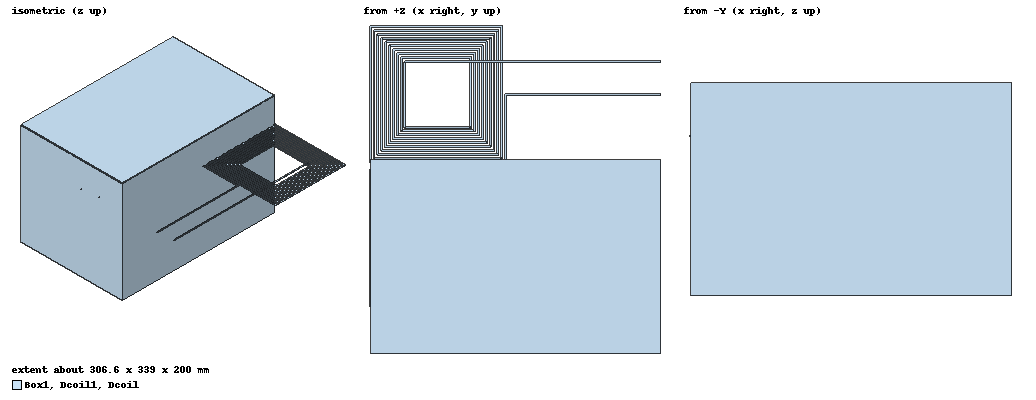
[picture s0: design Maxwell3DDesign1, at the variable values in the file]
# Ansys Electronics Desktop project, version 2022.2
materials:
  vacuum: permittivity=1

design Maxwell3DDesign1 (Maxwell 3D, Magnetostatic, model units mm)
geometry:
  Dcoil [vacuum] = polyline(z=0mm, xy in mm: (140, 60) (140, 0) (0, 0) (0, 140) (136, 140) (136, 4) (4, 4) (4, 136) (132, 136) (132, 8) (8, 8) (8, 132) (128, 132) (128, 12) (12, 12) (12, 128) (124, 128) (124, 16) (16, 16) (16, 124) (120, 124) (120, 20) (20, 20) (20, 120) (116, 120) (116, 24) (24, 24) (24, 116) (112, 116) (112, 28) (28, 28) (28, 112) (108, 112) (108, 32) (32, 32) (32, 108) (104, 108) (104, 36) (36, 36) (36, 104), section circle width=2mm)
  Polyline2 = polyline(y=104mm, xz in mm: (36, 0) (36, 4) (1000, 4), section circle width=2mm)
  Polyline3 = polyline(z=0mm, xy in mm: (140, 60) (140, 70) (1000, 70), section circle width=2mm)
  Dcoil.unite(Polyline2, Polyline3)
  Box1 [vacuum] = box(corner=(0mm, -50mm, 50mm), size=(300mm, 200mm, -200mm))
  Box2 = box(corner=(300mm, -50mm, 50mm), size=(800mm, 200mm, -200mm))
  Dcoil.subtract(Box2)
  Dcoil1 [vacuum] = polyline(z=0mm, xy in mm: (140, 60) (140, 0) (0, 0) (0, 140) (136, 140) (136, 4) (4, 4) (4, 136) (132, 136) (132, 8) (8, 8) (8, 132) (128, 132) (128, 12) (12, 12) (12, 128) (124, 128) (124, 16) (16, 16) (16, 124) (120, 124) (120, 20) (20, 20) (20, 120) (116, 120) (116, 24) (24, 24) (24, 116) (112, 116) (112, 28) (28, 28) (28, 112) (108, 112) (108, 32) (32, 32) (32, 108) (104, 108) (104, 36) (36, 36) (36, 104), section circle width=2mm)
  Polyline4 = polyline(y=104mm, xz in mm: (36, 0) (36, 4) (1000, 4), section circle width=2mm)
  Polyline5 = polyline(z=0mm, xy in mm: (140, 60) (140, 70) (1000, 70), section circle width=2mm)
  Dcoil1.unite(Polyline4, Polyline5)
  Box3 = box(corner=(300mm, -50mm, 50mm), size=(800mm, 200mm, -200mm))
  Dcoil1.subtract(Box3)
  Dcoil1.move(0mm, 148mm, 0mm)
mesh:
  initial mesh: GlobalCurvilinear{Apply}
